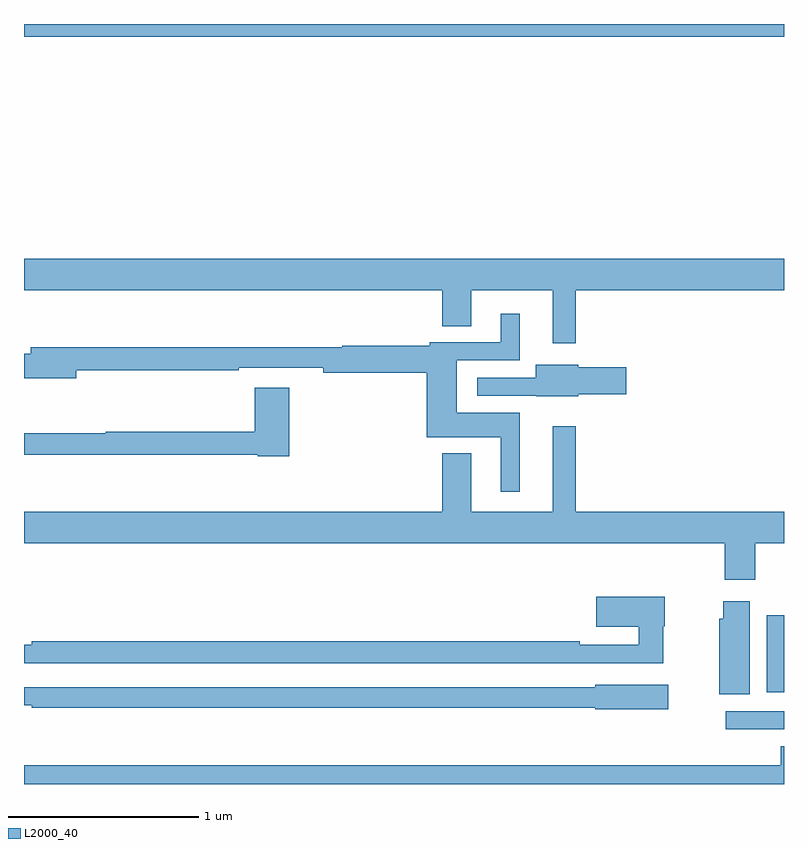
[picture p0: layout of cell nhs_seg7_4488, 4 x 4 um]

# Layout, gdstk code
import gdstk
lib = gdstk.Library(unit=1e-6, precision=1e-09)
def R(c, l, rs):  # rectangles x0, y0, x1, y1
    for r in rs: c.add(gdstk.rectangle(r[:2], r[2:], *l))
def P(c, l, *ps):  # polygons
    for p in ps: c.add(gdstk.Polygon(p, *l))
L2000_40 = (2000, 40)

nhs_seg7_4488 = lib.new_cell('nhs_seg7_4488')
R(nhs_seg7_4488, L2000_40, [(396.693,1014.288,397,1014.384), (396.908,1014.482,397,1014.889), (393,1017.932,397,1018)])
P(nhs_seg7_4488, L2000_40, [(395.905,1016.6),(397,1016.6),(397,1016.764),(393,1016.764),(393,1016.6),(395.201,1016.6),(395.201,1016.41),(395.353,1016.41),(395.353,1016.6),(395.783,1016.6),(395.783,1016.319),(395.905,1016.319)],
  [(395.608,1015.954),(395.278,1015.954),(395.278,1016.229),(395.608,1016.229),(395.608,1016.476),(395.51,1016.476),(395.51,1016.325),(395.136,1016.325),(395.136,1016.307),(394.674,1016.307),(394.674,1016.299),(393.035,1016.299),(393.035,1016.265),(393,1016.265),(393,1016.135),(393.274,1016.135),(393.274,1016.178),(394.13,1016.178),(394.13,1016.19),(394.574,1016.19),(394.574,1016.165),(395.12,1016.165),(395.12,1015.826),(395.51,1015.826),(395.51,1015.539),(395.608,1015.539)],
  [(395.916,1016.051),(396.169,1016.051),(396.169,1016.193),(395.916,1016.193),(395.916,1016.206),(395.693,1016.206),(395.693,1016.139),(395.385,1016.139),(395.385,1016.043),(395.697,1016.043),(395.697,1016.042),(395.916,1016.042)],
  [(394.397,1016.086),(394.214,1016.086),(394.214,1015.855),(393.43,1015.855),(393.43,1015.847),(393,1015.847),(393,1015.734),(394.23,1015.734),(394.23,1015.726),(394.397,1015.726)],
  [(396.849,1015.268),(397,1015.268),(397,1015.432),(395.905,1015.432),(395.905,1015.882),(395.783,1015.882),(395.783,1015.432),(395.353,1015.432),(395.353,1015.741),(395.201,1015.741),(395.201,1015.432),(393,1015.432),(393,1015.268),(396.689,1015.268),(396.689,1015.074),(396.849,1015.074)],
  [(396.364,1014.831),(396.372,1014.831),(396.372,1014.985),(396.012,1014.985),(396.012,1014.827),(396.235,1014.827),(396.235,1014.732),(395.924,1014.732),(395.924,1014.752),(393.04,1014.752),(393.04,1014.733),(393,1014.733),(393,1014.636),(396.364,1014.636)],
  [(396.82,1014.961),(396.679,1014.961),(396.679,1014.87),(396.658,1014.87),(396.658,1014.473),(396.82,1014.473)],
  [(396.391,1014.523),(396.006,1014.523),(396.006,1014.51),(393,1014.51),(393,1014.414),(393.04,1014.414),(393.04,1014.402),(396.006,1014.402),(396.006,1014.394),(396.391,1014.394)],
  [(397,1014.199),(396.983,1014.199),(396.983,1014.1),(393,1014.1),(393,1014),(397,1014)])

lib.write_gds('nhs_seg7_4488.gds')
